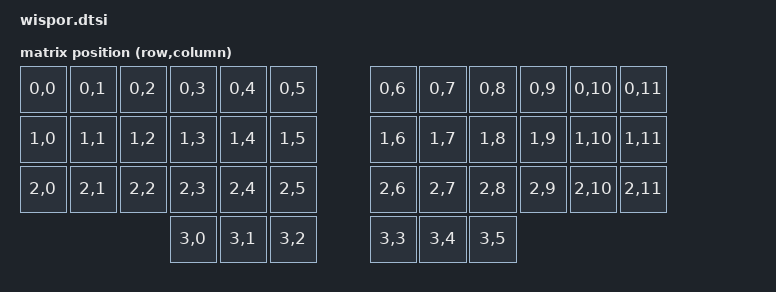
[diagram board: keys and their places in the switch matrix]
#include <dt-bindings/zmk/matrix_transform.h>

/ {
    kscan0: kscan0 {
        compatible = "zmk,kscan-gpio-matrix";
        diode-direction = "col2row";
        wakeup-source;
    };

    default_transform: keymap_transform_0 {
        compatible = "zmk,matrix-transform";
        columns = <12>;
        rows = <4>;
        map = <
        //  LKEY 1   |  LKEY 2  | LKEY 3   | LKEY 4   | LKEY 5   | LKEY 6       RKEY 1   | RKEY 2   | RKEY 3   | RKEY 4   | RKEY 5   | RKEY 6
            RC(0, 0)   RC(0, 1)   RC(0, 2)   RC(0, 3)   RC(0, 4)   RC(0, 5)     RC(0, 6)   RC(0, 7)   RC(0, 8)   RC(0, 9)   RC(0, 10)  RC(0, 11)
        //  LKEY 7   |  LKEY 8  | LKEY 9   | LKEY 10  | LKEY 11  | LKEY 12      RKEY 7   | RKEY 8   | RKEY 9   | RKEY 10  | RKEY 11  | RKEY 12
            RC(1, 0)   RC(1, 1)   RC(1, 2)   RC(1, 3)   RC(1, 4)   RC(1, 5)     RC(1, 6)   RC(1, 7)   RC(1, 8)   RC(1, 9)   RC(1, 10)  RC(1, 11)
        //  LKEY 13  |  LKEY 14 | LKEY 15  | LKEY 16  | LKEY 17  | LKEY 18      RKEY 13  | RKEY 14  | RKEY 15  | RKEY 16  | RKEY 17 | RKEY 18
            RC(2, 0)   RC(2, 1)   RC(2, 2)   RC(2, 3)   RC(2, 4)   RC(2, 5)     RC(2, 6)   RC(2, 7)   RC(2, 8)   RC(2, 9)   RC(2, 10)  RC(2, 11)
        //                                   LKEY 19  | LKEY 20  | LKEY 21      RKEY 19  | RKEY 20  | RKEY 21
                                             RC(3, 0)   RC(3, 1)   RC(3, 2)     RC(3, 3)   RC(3, 4)   RC(3, 5)
        >;
    };

    chosen {
        zmk,kscan = &kscan0;
        zmk,matrix-transform = &default_transform;
    };
};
